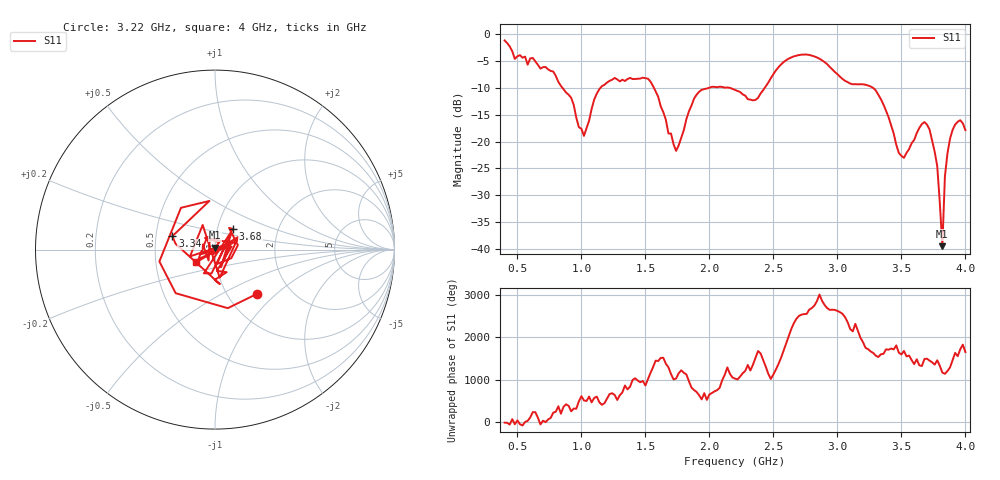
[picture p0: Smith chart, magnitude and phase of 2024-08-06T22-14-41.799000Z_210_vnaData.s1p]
!Created with skrf (http://scikit-rf.org).
# Hz S RI R 50.0
!freq ReS11 ImS11
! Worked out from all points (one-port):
!   181 points, 400 MHz to 4 GHz, reference 50 ohm
!   lowest |S11| = -39.5 dB at 3.82 GHz (marker M1), VSWR 1.02, Z = 50 + j1.06 ohm
!   |S11| at or under -10 dB: 853.4 MHz to 1.148 GHz (294.3 MHz wide, 29.4 % of centre); 1.567 GHz to 1.991 GHz (423.6 MHz wide, 23.8 % of centre); 3.281 GHz to end of sweep (the widest 3 of 4)
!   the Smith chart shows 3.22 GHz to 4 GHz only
!   S11 on the Smith chart (normalised r, x): 3.22 GHz: 1.36, -0.76; 3.34 GHz: 0.61, +0.10; 3.68 GHz: 1.19, +0.28; 4 GHz: 0.80, -0.12
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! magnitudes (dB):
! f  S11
! 400 MHz  -1.1
! 480 MHz  -4.6
! 620 MHz  -4.4
! 860 MHz  -10.2
! 1.02 GHz  -18.9
! 1.14 GHz  -10.2
! 1.3 GHz  -8.8
! 1.52 GHz  -8.3
! 1.74 GHz  -21.7
! 1.76 GHz  -20.7
! 1.92 GHz  -10.7
! 2.2 GHz  -10.3
! 2.36 GHz  -12.2
! 2.66 GHz  -4.1
! 2.84 GHz  -4.3
! 3.1 GHz  -9.2
! 3.22 GHz  -9.4
! 3.34 GHz  -12.1
! 3.48 GHz  -22.1
! 3.56 GHz  -21.4
! 3.68 GHz  -16.3
! 3.72 GHz  -17.7
! 3.78 GHz  -24.6
! 3.82 GHz  -39.5
! 3.84 GHz  -26.5
! 3.88 GHz  -19.5
! 3.96 GHz  -16.0
! 4 GHz  -17.9
